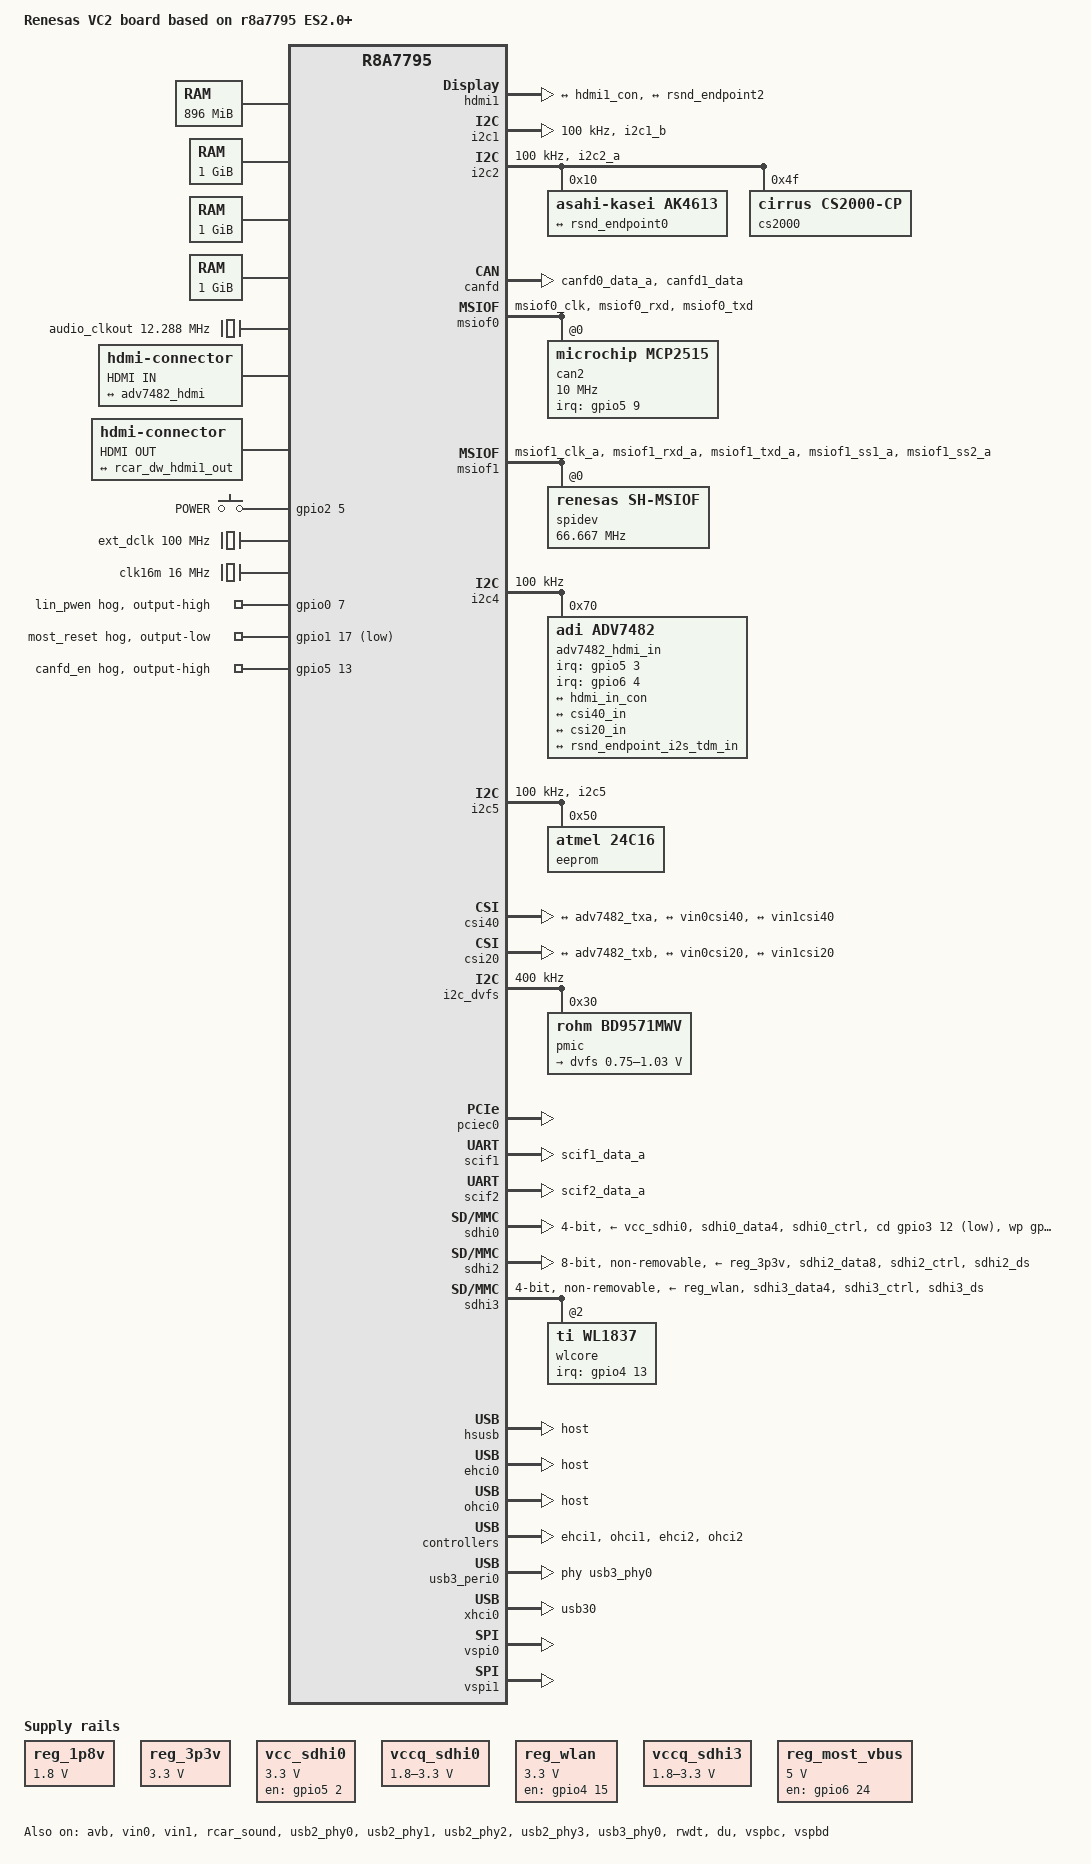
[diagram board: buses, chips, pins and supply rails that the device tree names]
/*
 * Device Tree Source for the H3VC2 (R-Car VehicleCompute2) board
 *
 * Copyright (C) 2018 Renesas Electronics Corp.
 * Copyright (C) 2018 Cogent Embedded, Inc.
 *
 * This file is licensed under the terms of the GNU General Public License
 * version 2.  This program is licensed "as is" without any warranty of any
 * kind, whether express or implied.
 */

/dts-v1/;
#include "r8a7795.dtsi"
#include <dt-bindings/gpio/gpio.h>
#include <dt-bindings/input/input.h>

/ {
	model = "Renesas VC2 board based on r8a7795 ES2.0+";
	compatible = "renesas,h3vc2", "renesas,r8a7795";

	aliases {
		serial0 = &scif2;
		serial1 = &scif1;
		ethernet0 = &avb;
		/* mdio-gpio0 = &mdio0; */
	};

	chosen {
		stdout-path = "serial0:115200n8";
	};

	memory@48000000 {
		device_type = "memory";
		/* first 128MB is reserved for secure area. */
		reg = <0x0 0x48000000 0x0 0x38000000>;
	};

	memory@500000000 {
		device_type = "memory";
		reg = <0x5 0x00000000 0x0 0x40000000>;
	};

	memory@600000000 {
		device_type = "memory";
		reg = <0x6 0x00000000 0x0 0x40000000>;
	};

	memory@700000000 {
		device_type = "memory";
		reg = <0x7 0x00000000 0x0 0x40000000>;
	};

	reserved-memory {
		#address-cells = <2>;
		#size-cells = <2>;
		ranges;

		/* device specific region for Lossy Decompression */
		lossy_decompress: linux,lossy_decompress {
			no-map;
			reg = <0x00000000 0x54000000 0x0 0x03000000>;
		};

		/* global autoconfigured region for contiguous allocations */
		linux,cma {
			compatible = "shared-dma-pool";
			reusable;
			reg = <0x00000000 0x57000000 0x0 0x19000000>;
			linux,cma-default;
		};

		/* device specific region for contiguous allocations */
		mmp_reserved: linux,multimedia {
			compatible = "shared-dma-pool";
			reusable;
			reg = <0x00000000 0x70000000 0x0 0x10000000>;
		};
	};

	mmngr {
		compatible = "renesas,mmngr";
		memory-region = <&mmp_reserved>, <&lossy_decompress>;
	};

	mmngrbuf {
		compatible = "renesas,mmngrbuf";
	};

	vspm_if {
		compatible = "renesas,vspm_if";
	};

	audio_clkout: audio-clkout {
		/*
		 * This is same as <&rcar_sound 0>
		 * but needed to avoid cs2000/rcar_sound probe dead-lock
		 */
		compatible = "fixed-clock";
		#clock-cells = <0>;
		clock-frequency = <12288000>;
	};

	hdmi-in {
		compatible = "hdmi-connector";
		label = "HDMI IN";
		type = "a";

		port {
			hdmi_in_con: endpoint {
				remote-endpoint = <&adv7482_hdmi>;
			};
		};
	};

	hdmi1-out {
		compatible = "hdmi-connector";
		label = "HDMI OUT";
		type = "a";

		remote-endpoint = <&rcar_dw_hdmi1_out>;

		port {
			hdmi1_con: endpoint {
			};
		};
	};

	keyboard {
		compatible = "gpio-keys";

		key-pwr {
			linux,code = <KEY_POWER>;
			label = "POWER";
			gpios = <&gpio2 5 GPIO_ACTIVE_HIGH>;
		};
	};

	reg_1p8v: regulator0 {
		compatible = "regulator-fixed";
		regulator-name = "fixed-1.8V";
		regulator-min-microvolt = <1800000>;
		regulator-max-microvolt = <1800000>;
		regulator-boot-on;
		regulator-always-on;
	};

	reg_3p3v: regulator1 {
		compatible = "regulator-fixed";
		regulator-name = "fixed-3.3V";
		regulator-min-microvolt = <3300000>;
		regulator-max-microvolt = <3300000>;
		regulator-boot-on;
		regulator-always-on;
	};

	sound_cards: sound {
		compatible = "audio-graph-card";
		label = "rcar-sound";
		dais = <&rsnd_port0 &rsnd_port1 &rsnd_port2>;
	};

	vcc_sdhi0: regulator-vcc-sdhi0 {
		compatible = "regulator-fixed";

		regulator-name = "SDHI0 Vcc";
		regulator-min-microvolt = <3300000>;
		regulator-max-microvolt = <3300000>;

		gpio = <&gpio5 2 GPIO_ACTIVE_HIGH>;
		enable-active-high;
	};

	vccq_sdhi0: regulator-vccq-sdhi0 {
		compatible = "regulator-gpio";

		regulator-name = "SDHI0 VccQ";
		regulator-min-microvolt = <1800000>;
		regulator-max-microvolt = <3300000>;

		gpios = <&gpio5 1 GPIO_ACTIVE_HIGH>;
		gpios-states = <1>;
		states = <3300000 1
			  1800000 0>;
	};

	reg_wlan: regulator-vcc-wlan {
		compatible = "regulator-fixed";

		regulator-name = "WLAN Vcc";
		regulator-min-microvolt = <3300000>;
		regulator-max-microvolt = <3300000>;

		gpio = <&gpio4 15 GPIO_ACTIVE_HIGH>;
		enable-active-high;
	};

	vccq_sdhi3: regulator-vccq-sdhi3 {
		compatible = "regulator-gpio";

		regulator-name = "SDHI3 VccQ";
		regulator-min-microvolt = <1800000>;
		regulator-max-microvolt = <3300000>;

		gpios = <&gpio3 14 GPIO_ACTIVE_HIGH>;
		gpios-states = <1>;
		states = <3300000 1
			  1800000 0>;
	};

	reg_most_vbus: regulator-vbus0-usb0 {
		compatible = "regulator-fixed";

		regulator-name = "MOST VBUS";
		regulator-min-microvolt = <5000000>;
		regulator-max-microvolt = <5000000>;

		gpio = <&gpio6 24 GPIO_ACTIVE_HIGH>;
		enable-active-high;
	};

	x12_clk: x12 {
		compatible = "fixed-clock";
		#clock-cells = <0>;
		clock-frequency = <24576000>;
	};

	ext_dclk: dclk {
		compatible = "fixed-clock";
		#clock-cells = <0>;
		clock-frequency = <100000000>;
	};

	clk16m: clk_mcp {
		compatible = "fixed-clock";
		#clock-cells = <0>;
		clock-frequency = <16000000>;
	};

	cetibox-power {
		status = "okay";
		compatible = "cetitec,cetibox-poweroff";
		wakecpld = <&i2c5 0x3C>; /* i2c bus, i2c addr */
		wakecpld-config = <&i2c1 0x60>; /* i2c bus, i2c addr */
	};
};

&audio_clk_a {
	clock-frequency = <22579200>;
};

&audio_clk_c {
	clock-frequency = <12288000>;
};

&avb {
	pinctrl-0 = <&avb_pins>;
	pinctrl-names = "default";
	renesas,no-ether-link;
	phy-handle = <&phy1f>;
	status = "okay";

	phy-mode = "rgmii";
};

&a57_0 {
	cpu-supply = <&dvfs>;
};

&extal_clk {
	clock-frequency = <16666666>;
};

&extalr_clk {
	clock-frequency = <32768>;
};

&hdmi1 {
	status = "okay";

	ports {
		port@1 {
			reg = <1>;
			rcar_dw_hdmi1_out: endpoint {
				remote-endpoint = <&hdmi1_con>;
			};
		};

		port@2 {
			reg = <2>;
			rcar_dw_hdmi1_sound_in: endpoint {
				remote-endpoint = <&rsnd_endpoint2>;
			};
		};
	};
};

&i2c1 {
	pinctrl-0 = <&i2c1_pins>;
	pinctrl-names = "default";

	status = "okay";

	clock-frequency = <100000>;
};

&i2c2 {
	pinctrl-0 = <&i2c2_pins>;
	pinctrl-names = "default";

	status = "okay";

	clock-frequency = <100000>;

	ak4613: codec@10 {
		compatible = "asahi-kasei,ak4613";
		#sound-dai-cells = <0>;
		reg = <0x10>;
		clocks = <&rcar_sound 3>;

		asahi-kasei,in1-single-end;
		asahi-kasei,in2-single-end;
		asahi-kasei,out1-single-end;
		asahi-kasei,out2-single-end;
		asahi-kasei,out3-single-end;
		asahi-kasei,out4-single-end;
		asahi-kasei,out5-single-end;
		asahi-kasei,out6-single-end;

		port {
			ak4613_endpoint: endpoint {
				remote-endpoint = <&rsnd_endpoint0>;
			};
		};
	};

	cs2000: clk-multiplier@4f {
		#clock-cells = <0>;
		compatible = "cirrus,cs2000-cp";
		reg = <0x4f>;
		clocks = <&audio_clkout>, <&x12_clk>;
		clock-names = "clk_in", "ref_clk";

		assigned-clocks = <&cs2000>;
		assigned-clock-rates = <24576000>; /* 1/1 divide */
	};
};

&canfd {
	pinctrl-0 = <&canfd0_pins &canfd1_pins>;
	pinctrl-names = "default";
	status = "okay";

	channel0 {
		status = "okay";
	};

	channel1 {
		status = "okay";
	};
};

&msiof0 {
	pinctrl-0 = <&msiof0_pins>;
	pinctrl-names = "default";
	cs-gpios = <&gpio5 8 0>;

	status = "okay";

	can2: can@0 {
		compatible = "microchip,mcp2515";
		reg = <0>;
		clocks = <&clk16m>;
		interrupt-parent = <&gpio5>;
		interrupts = <9 IRQ_TYPE_LEVEL_HIGH>;
		spi-max-frequency = <10000000>;
	};
};

&msiof1 {
	pinctrl-0 = <&msiof1_pins>;
	pinctrl-names = "default";
	cs-gpios = <&gpio6 5 0>, <&gpio6 6 0>,
		   <&gpio2 1 0>, <&gpio2 4 0>;
	num-cs = <4>;

	status = "okay";

	/* RH850 */
	spidev@0 {
		compatible = "renesas,sh-msiof";
		reg = <0>;
		spi-max-frequency = <66666666>;
		spi-cpha;
		spi-cpol;
	};
};

&msiof_ref_clk {
	clock-frequency = <66666666>;
};

&i2c4 {
	status = "okay";

	clock-frequency = <100000>;

	adv7482_hdmi_in: video-receiver@70 {
		compatible = "adi,adv7482";
		reg = <0x70>;

		#address-cells = <1>;
		#size-cells = <0>;
		#clock-cells = <0>; /* the MCLK for I2S output */

		interrupts-extended = <&gpio5 3 IRQ_TYPE_LEVEL_LOW
				       &gpio6 4 IRQ_TYPE_LEVEL_LOW>;
		interrupt-names = "intrq1", "intrq2";

		port@8 {
			reg = <8>;

			adv7482_hdmi: endpoint {
				remote-endpoint = <&hdmi_in_con>;
			};
		};

		port@a {
			reg = <10>;

			adv7482_txa: endpoint {
				clock-lanes = <0>;
				data-lanes = <1 2 3 4>;
				remote-endpoint = <&csi40_in>;
			};
		};

		port@b {
			reg = <11>;

			adv7482_txb: endpoint {
				clock-lanes = <0>;
				data-lanes = <1>;
				remote-endpoint = <&csi20_in>;
			};
		};

		port@c {
			reg = <12>;

			adv7482_i2s: endpoint {
				remote-endpoint = <&rsnd_endpoint_i2s_tdm_in>;
				system-clock-direction-out;
			};
		};
	};
};

&i2c5 {
	pinctrl-0 = <&i2c5_pins>;
	pinctrl-names = "default";

	status = "okay";

	clock-frequency = <100000>;

	eeprom: eeprom@50 {
		compatible = "atmel,24c16";
		reg = <0x50>;
		pagesize = <16>;
	};
};

&csi40 {
	status = "okay";

	ports {
		#address-cells = <1>;
		#size-cells = <0>;

		port@0 {
			reg = <0>;

			csi40_in: endpoint {
				clock-lanes = <0>;
				data-lanes = <1 2 3 4>;
				remote-endpoint = <&adv7482_txa>;
			};
		};

		port@1 {
			#address-cells = <1>;
			#size-cells = <0>;

			reg = <1>;

			csi40vin0: endpoint@0 {
				reg = <0>;
				remote-endpoint = <&vin0csi40>;
			};
			csi40vin1: endpoint@1 {
				reg = <1>;
				remote-endpoint = <&vin1csi40>;
			};
		};
	};
};

&csi20 {
	status = "okay";

	ports {
		#address-cells = <1>;
		#size-cells = <0>;

		port@0 {
			reg = <0>;
			csi20_in: endpoint {
				clock-lanes = <0>;
				data-lanes = <1>;
				remote-endpoint = <&adv7482_txb>;
			};
		};

		port@1 {
			#address-cells = <1>;
			#size-cells = <0>;

			reg = <1>;

			csi20vin0: endpoint@0 {
				reg = <0>;
				remote-endpoint = <&vin0csi20>;
			};
			csi20vin1: endpoint@1 {
				reg = <1>;
				remote-endpoint = <&vin1csi20>;
			};
		};
	};
};

&vin0 {
	status = "okay";

	ports {
		#address-cells = <1>;
		#size-cells = <0>;

		port@1 {
			#address-cells = <1>;
			#size-cells = <0>;

			reg = <1>;

			vin0csi20: endpoint@0 {
				reg = <0>;
				remote-endpoint= <&csi20vin0>;
			};
			vin0csi40: endpoint@2 {
				reg = <2>;
				remote-endpoint= <&csi40vin0>;
			};
		};
	};
};

&vin1 {
	status = "okay";

	ports {
		#address-cells = <1>;
		#size-cells = <0>;

		port@1 {
			#address-cells = <1>;
			#size-cells = <0>;

			reg = <1>;

			vin1csi20: endpoint@0 {
				reg = <0>;
				remote-endpoint= <&csi20vin1>;
			};
			vin1csi40: endpoint@2 {
				reg = <2>;
				remote-endpoint= <&csi40vin1>;
			};
		};
	};
};

&i2c_dvfs {
	status = "okay";

	clock-frequency = <400000>;

	pmic: pmic@30 {
		pinctrl-0 = <&irq0_pins>;
		pinctrl-names = "default";

		compatible = "rohm,bd9571mwv";
		reg = <0x30>;
		interrupt-parent = <&intc_ex>;
		interrupts = <0 IRQ_TYPE_LEVEL_LOW>;
		interrupt-controller;
		#interrupt-cells = <2>;
		gpio-controller;
		#gpio-cells = <2>;

		regulators {
			dvfs: dvfs {
				regulator-name = "dvfs";
				regulator-min-microvolt = <750000>;
				regulator-max-microvolt = <1030000>;
				regulator-boot-on;
				regulator-always-on;
			};
		};
	};
};

&pcie_bus_clk {
	clock-frequency = <100000000>;
};

&pciec0 {
	status = "okay";
};

&pfc {
	pinctrl-0 = <&scif_clk_pins>;
	pinctrl-names = "default";

	avb_pins: avb {
		groups = "avb_mdc", "avb_mii";
		function = "avb";
	};

	i2c1_pins: i2c1 {
		groups = "i2c1_b";
		function = "i2c1";
	};

	i2c2_pins: i2c2 {
		groups = "i2c2_a";
		function = "i2c2";
	};

	i2c5_pins: i2c5 {
		groups = "i2c5";
		function = "i2c5";
	};

	irq0_pins: irq0 {
		groups = "intc_ex_irq0";
		function = "intc_ex";
	};

	scif1_pins: scif1 {
		groups = "scif1_data_a";
		function = "scif1";
	};

	scif2_pins: scif2 {
		groups = "scif2_data_a";
		function = "scif2";
	};

	scif_clk_pins: scif_clk {
		groups = "scif_clk_a";
		function = "scif_clk";
	};

	sdhi0_pins: sd0 {
		groups = "sdhi0_data4", "sdhi0_ctrl";
		function = "sdhi0";
		power-source = <3300>;
	};

	sdhi0_pins_uhs: sd0_uhs {
		groups = "sdhi0_data4", "sdhi0_ctrl";
		function = "sdhi0";
		power-source = <1800>;
	};

	sdhi2_pins: sd2 {
		groups = "sdhi2_data8", "sdhi2_ctrl", "sdhi2_ds";
		function = "sdhi2";
		power-source = <3300>;
	};

	sdhi2_pins_uhs: sd2_uhs {
		groups = "sdhi2_data8", "sdhi2_ctrl", "sdhi2_ds";
		function = "sdhi2";
		power-source = <1800>;
	};

	sdhi3_pins: sd3 {
		groups = "sdhi3_data4", "sdhi3_ctrl", "sdhi3_ds";
		function = "sdhi3";
		power-source = <3300>;
	};

	sdhi3_pins_uhs: sd3_uhs {
		groups = "sdhi3_data4", "sdhi3_ctrl", "sdhi3_ds";
		function = "sdhi3";
		power-source = <1800>;
	};

	sound_pins: sound {
		groups = "ssi01239_ctrl", "ssi0_data", "ssi1_data_a",
			 "ssi9_ctrl_a", "ssi9_data_a";
		function = "ssi";
	};

	sound_clk_pins: sound-clk {
		groups = "audio_clk_a_a", "audio_clk_b_a", "audio_clk_c_a",
			 "audio_clkout_a", "audio_clkout3_a";
		function = "audio_clk";
	};

	usb0_pins: usb0 {
		groups = "usb0";
		function = "usb0";
	};

	usb1_pins: usb1 {
		groups = "usb1";
		function = "usb1";
	};

	usb2_pins: usb2 {
		groups = "usb2";
		function = "usb2";
	};

	usb23_pins: usb2_ch3 {
		groups = "usb2_ch3";
		function = "usb2_ch3";
	};

	usb30_pins: usb30 {
		groups = "usb30";
		function = "usb30";
	};

	msiof0_pins: spi1 {
		groups = "msiof0_clk", "msiof0_rxd", "msiof0_txd";
		function = "msiof0";
	};

	msiof1_pins: spi2 {
		groups = "msiof1_clk_a", "msiof1_rxd_a", "msiof1_txd_a",
			 "msiof1_ss1_a", "msiof1_ss2_a";
		function = "msiof1";
	};

	canfd0_pins: canfd0 {
		groups = "canfd0_data_a";
		function = "canfd0";
	};

	canfd1_pins: canfd1 {
		groups = "canfd1_data";
		function = "canfd1";
	};
};

&rcar_sound {
	pinctrl-0 = <&sound_pins &sound_clk_pins>;
	pinctrl-names = "default";

	/* Multi DAI */
	#sound-dai-cells = <1>;

	/* audio_clkout0/1/2/3 */
	#clock-cells = <1>;
	clock-frequency = <12288000 11289600>;

	status = "okay";

	/* update <audio_clk_b> to <cs2000> */
	clocks = <&cpg CPG_MOD 1005>,
		 <&cpg CPG_MOD 1006>, <&cpg CPG_MOD 1007>,
		 <&cpg CPG_MOD 1008>, <&cpg CPG_MOD 1009>,
		 <&cpg CPG_MOD 1010>, <&cpg CPG_MOD 1011>,
		 <&cpg CPG_MOD 1012>, <&cpg CPG_MOD 1013>,
		 <&cpg CPG_MOD 1014>, <&cpg CPG_MOD 1015>,
		 <&cpg CPG_MOD 1022>, <&cpg CPG_MOD 1023>,
		 <&cpg CPG_MOD 1024>, <&cpg CPG_MOD 1025>,
		 <&cpg CPG_MOD 1026>, <&cpg CPG_MOD 1027>,
		 <&cpg CPG_MOD 1028>, <&cpg CPG_MOD 1029>,
		 <&cpg CPG_MOD 1030>, <&cpg CPG_MOD 1031>,
		 <&cpg CPG_MOD 1020>, <&cpg CPG_MOD 1021>,
		 <&cpg CPG_MOD 1020>, <&cpg CPG_MOD 1021>,
		 <&cpg CPG_MOD 1019>, <&cpg CPG_MOD 1018>,
		 <&audio_clk_a>, <&cs2000>,
		 <&adv7482_hdmi_in>,
		 <&cpg CPG_CORE CPG_AUDIO_CLK_I>;
	clock-names = "ssi-all",
		      "ssi.9", "ssi.8", "ssi.7", "ssi.6",
		      "ssi.5", "ssi.4", "ssi.3", "ssi.2",
		      "ssi.1", "ssi.0",
		      "src.9", "src.8", "src.7", "src.6",
		      "src.5", "src.4", "src.3", "src.2",
		      "src.1", "src.0",
		      "mix.1", "mix.0",
		      "ctu.1", "ctu.0",
		      "dvc.0", "dvc.1",
		      "clk_a", "clk_b", "clk_c", "clk_i";

	ports {
		#address-cells = <1>;
		#size-cells = <0>;

		rsnd_port0: port@0 {
			reg = <0>;
			rsnd_endpoint0: endpoint {
				remote-endpoint = <&ak4613_endpoint>;

				dai-format = "left_j";
				bitclock-master = <&rsnd_endpoint0>;
				frame-master = <&rsnd_endpoint0>;

				playback = <&ssi0 &src0 &dvc0>;
				capture  = <&ssi1 &src1 &dvc1>;
			};
		};
		rsnd_port1: port@1 {
			reg = <1>;
			rsnd_endpoint_i2s_tdm_in: endpoint {
				remote-endpoint = <&adv7482_i2s>;

				dai-tdm-slot-num = <8>;
				dai-tdm-slot-width = <32>;
				dai-format = "left_j";
				mclk-fs = <256>;
				bitclock-master = <&adv7482_i2s>;
				frame-master = <&adv7482_i2s>;

				capture = <&ssi9>;
			};
		};
		rsnd_port2: port@2 {
			reg= <2>;
			rsnd_endpoint2: endpoint {
				remote-endpoint = <&rcar_dw_hdmi1_sound_in>;

				dai-format = "i2s";
				bitclock-master = <&rsnd_endpoint2>;
				frame-master = <&rsnd_endpoint2>;
				system-clock-direction-out;

				playback = <&ssi0 &ssi1 &ssi2>;
			};
		};
	};
};

&gpio0 {
	lin_pwen {
		gpio-hog;
		gpios = <7 GPIO_ACTIVE_HIGH>;
		output-high;
	};
};

&gpio1 {
	most_reset {
		gpio-hog;
		gpios = <17 GPIO_ACTIVE_LOW>;
		output-low;
	};
};

&gpio5 {
	canfd_en {
		gpio-hog;
		gpios = <13 GPIO_ACTIVE_HIGH>;
		output-high;
	};
};

&scif1 {
	/* LIN */
	pinctrl-0 = <&scif1_pins>;
	pinctrl-names = "default";

	status = "okay";
};

&scif2 {
	pinctrl-0 = <&scif2_pins>;
	pinctrl-names = "default";

	status = "okay";
};

&scif_clk {
	clock-frequency = <14745600>;
};

&sdhi0 {
	/* SD card slot */
	pinctrl-0 = <&sdhi0_pins>;
	pinctrl-1 = <&sdhi0_pins_uhs>;
	pinctrl-names = "default", "state_uhs";

	vmmc-supply = <&vcc_sdhi0>;
	vqmmc-supply = <&vccq_sdhi0>;
	cd-gpios = <&gpio3 12 GPIO_ACTIVE_LOW>;
	wp-gpios = <&gpio3 13 GPIO_ACTIVE_LOW>;
	bus-width = <4>;
	sd-uhs-sdr50;
	sd-uhs-sdr104;
	status = "okay";
};

&sdhi2 {
	/* used for on-board 8bit eMMC */
	pinctrl-0 = <&sdhi2_pins>;
	pinctrl-1 = <&sdhi2_pins_uhs>;
	pinctrl-names = "default", "state_uhs";

	vmmc-supply = <&reg_3p3v>;
	vqmmc-supply = <&reg_1p8v>;
	bus-width = <8>;
	mmc-hs200-1_8v;
	mmc-hs400-1_8v;
	non-removable;
	status = "okay";
};

&sdhi3 {
	/* used for on-board 4bit WLAN */
	pinctrl-0 = <&sdhi3_pins>;
	pinctrl-1 = <&sdhi3_pins_uhs>;
	pinctrl-names = "default", "state_uhs";

	vmmc-supply = <&reg_wlan>;
	vqmmc-supply = <&vccq_sdhi3>;
	bus-width = <4>;
	cap-power-off-card;
	keep-power-in-suspend;
	enable-sdio-wakeup;
	non-removable;
	max-frequency = <26000000>;
	status = "okay";

	#address-cells = <1>;
	#size-cells = <0>;
	wlcore: wlcore@0 {
		compatible = "ti,wl1837";
		reg = <2>;
		interrupt-parent = <&gpio4>;
		interrupts = <13 IRQ_TYPE_LEVEL_HIGH>;
	};
};

&ssi1 {
	shared-pin;
};

/* USB host to MOST */
&hsusb {
	dr_mode = "host";
	status = "okay";
};

&ehci0 {
	status = "okay";
	dr_mode = "host";
};

&ohci0 {
	status = "okay";
	dr_mode = "host";
};

&ehci1 {
	status = "okay";
};

&ohci1 {
	status = "okay";
};

&ehci2 {
	status = "okay";
};

&ohci2 {
	status = "okay";
};

&usb3_peri0 {
	companion = <&xhci0>;

	phys = <&usb3_phy0>;
	phy-names = "usb";

	status = "okay";
};

&xhci0 {
	pinctrl-0 = <&usb30_pins>;
	pinctrl-names = "default";

	status = "okay";
};

/* MOST */
&usb2_phy0 {
	vbus-supply = <&reg_most_vbus>;

	status = "okay";
};

/* CN10 */
&usb2_phy1 {
	pinctrl-0 = <&usb1_pins>;
	pinctrl-names = "default";

	status = "okay";
};

/* CN11 */
&usb2_phy2 {
	pinctrl-0 = <&usb2_pins>;
	pinctrl-names = "default";
	status = "okay";
};

/* DBG */
&usb2_phy3 {
	pinctrl-0 = <&usb23_pins>;
	pinctrl-names = "default";
	dr_mode = "otg";
	status = "okay";
};

&usb3_phy0 {
	status = "okay";
};

&usb3s0_clk {
	clock-frequency = <100000000>;
};

&usb_extal_clk {
	clock-frequency = <50000000>;
};


&rwdt {
	timeout-sec = <60>;
	status = "okay";
};

&du {
	status = "okay";
	clocks = <&cpg CPG_MOD 724>,
		 <&cpg CPG_MOD 723>,
		 <&cpg CPG_MOD 722>,
		 <&cpg CPG_MOD 721>,
		 <&cpg CPG_MOD 727>,
		 <&ext_dclk>;
	clock-names = "du.0", "du.1", "du.2", "du.3", "lvds.0", "dclkin.2";
};

&vspbc {
	status = "okay";
};

&vspbd {
	status = "okay";
};

&vspi0 {
	status = "okay";
};

&vspi1 {
	status = "okay";
};
